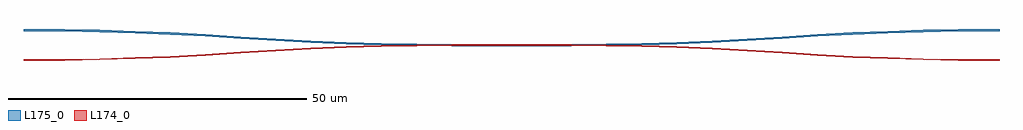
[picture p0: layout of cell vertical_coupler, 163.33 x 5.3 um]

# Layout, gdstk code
import gdstk
lib = gdstk.Library(unit=1e-6, precision=1e-09)
def R(c, l, rs):  # rectangles x0, y0, x1, y1
    for r in rs: c.add(gdstk.rectangle(r[:2], r[2:], *l))
def P(c, l, *ps):  # polygons
    for p in ps: c.add(gdstk.Polygon(p, *l))
L174_0 = (174, 0)
L175_0 = (175, 0)

vertical_coupler = lib.new_cell('vertical_coupler')
R(vertical_coupler, L174_0, [(0,-0.125,1,0.125), (162.333,-0.125,163.333,0.125), (71.666,2.375,91.666,2.625)])
P(vertical_coupler, L174_0, [(1,-0.125),(6.895,-0.09),(12.789,0.014),(18.682,0.188),(24.572,0.431),(30.459,0.743),(36.342,1.125),(36.324,1.375),(30.445,0.993),(24.561,0.681),(18.673,0.438),(12.784,0.264),(6.892,0.16),(1,0.125)],
  [(36.324,1.375),(42.207,1.757),(48.094,2.069),(53.984,2.312),(59.877,2.486),(65.771,2.59),(71.666,2.625),(71.666,2.375),(65.774,2.34),(59.883,2.236),(53.993,2.062),(48.106,1.819),(42.222,1.507),(36.342,1.125)],
  [(91.666,2.625),(97.562,2.59),(103.456,2.486),(109.349,2.312),(115.239,2.069),(121.126,1.757),(127.009,1.375),(126.991,1.125),(121.111,1.507),(115.227,1.819),(109.34,2.062),(103.45,2.236),(97.559,2.34),(91.666,2.375)],
  [(126.991,1.125),(132.874,0.743),(138.761,0.431),(144.651,0.188),(150.544,0.014),(156.438,-0.09),(162.333,-0.125),(162.333,0.125),(156.441,0.16),(150.549,0.264),(144.66,0.438),(138.772,0.681),(132.888,0.993),(127.009,1.375)])
R(vertical_coupler, L175_0, [(71.666,2.326,91.666,2.673), (0,4.826,1,5.173), (162.333,4.826,163.333,5.173)])
P(vertical_coupler, L175_0, [(1,5.173),(6.896,5.139),(12.791,5.035),(18.684,4.861),(24.575,4.618),(30.462,4.305),(36.345,3.923),(36.321,3.577),(30.442,3.959),(24.558,4.271),(18.672,4.514),(12.782,4.688),(6.892,4.792),(1,4.827)],
  [(36.321,3.577),(42.204,3.195),(48.092,2.882),(53.983,2.639),(59.876,2.465),(65.771,2.361),(71.666,2.327),(71.666,2.673),(65.775,2.708),(59.884,2.812),(53.995,2.986),(48.108,3.229),(42.225,3.541),(36.345,3.923)],
  [(91.666,2.327),(97.562,2.361),(103.457,2.465),(109.35,2.639),(115.241,2.882),(121.129,3.195),(127.012,3.577),(126.987,3.923),(121.108,3.541),(115.225,3.229),(109.338,2.986),(103.449,2.812),(97.558,2.708),(91.666,2.673)],
  [(126.987,3.923),(132.871,4.305),(138.758,4.618),(144.649,4.861),(150.542,5.035),(156.437,5.139),(162.333,5.173),(162.333,4.827),(156.441,4.792),(150.551,4.688),(144.661,4.514),(138.775,4.271),(132.891,3.959),(127.012,3.577)])

lib.write_gds('vertical_coupler.gds')
